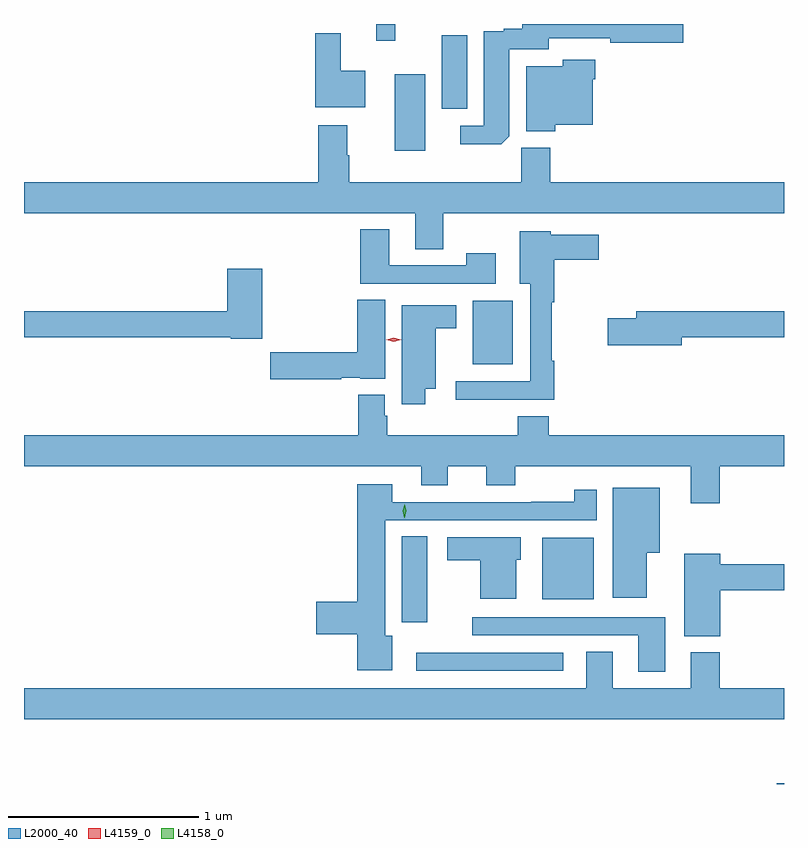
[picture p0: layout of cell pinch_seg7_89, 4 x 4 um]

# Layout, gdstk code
import gdstk
lib = gdstk.Library(unit=1e-6, precision=1e-09)
def R(c, l, rs):  # rectangles x0, y0, x1, y1
    for r in rs: c.add(gdstk.rectangle(r[:2], r[2:], *l))
def P(c, l, *ps):  # polygons
    for p in ps: c.add(gdstk.Polygon(p, *l))
L2000_40 = (2000, 40)
L4158_0 = (4158, 0)
L4159_0 = (4159, 0)

pinch_seg7_89 = lib.new_cell('pinch_seg7_89')
R(pinch_seg7_89, L2000_40, [(967.866,1008.268,967.905,1008.273), (965.97,1008.864,966.742,1008.96), (965.894,1009.119,966.028,1009.571), (966.632,1009.241,966.904,1009.564), (966.266,1010.477,966.478,1010.812), (965.855,1011.6,966.016,1012.003), (966.104,1011.822,966.238,1012.21), (965.759,1012.179,965.859,1012.268)])
P(pinch_seg7_89, L2000_40, [(966.46,1011.676),(966.46,1012.134),(966.667,1012.134),(966.667,1012.194),(966.99,1012.194),(966.99,1012.169),(967.375,1012.169),(967.375,1012.268),(966.527,1012.268),(966.527,1012.243),(966.431,1012.243),(966.431,1012.23),(966.326,1012.23),(966.326,1011.732),(966.201,1011.732),(966.201,1011.635),(966.418,1011.635)],
  [(965.701,1012.021),(965.572,1012.021),(965.572,1012.219),(965.438,1012.219),(965.438,1011.83),(965.701,1011.83)],
  [(966.701,1011.737),(966.898,1011.737),(966.898,1011.977),(966.911,1011.977),(966.911,1012.081),(966.74,1012.081),(966.74,1012.045),(966.548,1012.045),(966.548,1011.704),(966.701,1011.704)],
  [(966.111,1011.272),(967.905,1011.272),(967.905,1011.436),(966.674,1011.436),(966.674,1011.618),(966.523,1011.618),(966.523,1011.436),(965.618,1011.436),(965.618,1011.578),(965.605,1011.578),(965.605,1011.736),(965.453,1011.736),(965.453,1011.436),(963.905,1011.436),(963.905,1011.272),(965.963,1011.272),(965.963,1011.082),(966.111,1011.082)],
  [(966.388,1011.061),(966.232,1011.061),(966.232,1010.997),(965.827,1010.997),(965.827,1011.187),(965.675,1011.187),(965.675,1010.901),(966.388,1010.901)],
  [(966.695,1010.495),(966.682,1010.495),(966.682,1010.804),(966.695,1010.804),(966.695,1011.026),(966.931,1011.026),(966.931,1011.16),(966.678,1011.16),(966.678,1011.178),(966.515,1011.178),(966.515,1010.9),(966.569,1010.9),(966.569,1010.388),(966.177,1010.388),(966.177,1010.291),(966.695,1010.291)],
  [(965.159,1010.98),(964.976,1010.98),(964.976,1010.756),(963.905,1010.756),(963.905,1010.62),(964.992,1010.62),(964.992,1010.612),(965.159,1010.612)],
  [(965.576,1010.405),(965.676,1010.405),(965.676,1010.402),(965.806,1010.402),(965.806,1010.816),(965.66,1010.816),(965.66,1010.54),(965.202,1010.54),(965.202,1010.398),(965.576,1010.398)],
  [(966.016,1010.348),(966.073,1010.348),(966.073,1010.666),(966.181,1010.666),(966.181,1010.788),(965.894,1010.788),(965.894,1010.268),(966.016,1010.268)],
  [(967.366,1010.62),(967.905,1010.62),(967.905,1010.756),(967.127,1010.756),(967.127,1010.72),(966.978,1010.72),(966.978,1010.578),(967.366,1010.578)],
  [(967.568,1009.94),(967.905,1009.94),(967.905,1010.104),(966.668,1010.104),(966.668,1010.203),(966.503,1010.203),(966.503,1010.104),(965.816,1010.104),(965.816,1010.205),(965.803,1010.205),(965.803,1010.317),(965.663,1010.317),(965.663,1010.104),(963.905,1010.104),(963.905,1009.94),(965.996,1009.94),(965.996,1009.841),(966.136,1009.841),(966.136,1009.94),(966.338,1009.94),(966.338,1009.841),(966.491,1009.841),(966.491,1009.94),(967.415,1009.94),(967.415,1009.746),(967.568,1009.746)],
  [(965.842,1009.048),(965.806,1009.048),(965.806,1009.656),(966.919,1009.656),(966.919,1009.816),(966.802,1009.816),(966.802,1009.754),(966.574,1009.754),(966.574,1009.752),(965.842,1009.752),(965.842,1009.846),(965.66,1009.846),(965.66,1009.226),(965.442,1009.226),(965.442,1009.055),(965.66,1009.055),(965.66,1008.866),(965.842,1008.866)],
  [(967.183,1009.484),(967.252,1009.484),(967.252,1009.828),(967.004,1009.828),(967.004,1009.247),(967.183,1009.247)],
  [(966.496,1009.449),(966.52,1009.449),(966.52,1009.567),(966.132,1009.567),(966.132,1009.445),(966.305,1009.445),(966.305,1009.244),(966.496,1009.244)],
  [(967.57,1009.288),(967.905,1009.288),(967.905,1009.424),(967.57,1009.424),(967.57,1009.48),(967.379,1009.48),(967.379,1009.046),(967.57,1009.046)],
  [(967.279,1009.146),(966.264,1009.146),(966.264,1009.05),(967.139,1009.05),(967.139,1008.858),(967.279,1008.858)],
  [(967.905,1008.772),(967.568,1008.772),(967.568,1008.961),(967.415,1008.961),(967.415,1008.772),(967.003,1008.772),(967.003,1008.965),(966.863,1008.965),(966.863,1008.772),(963.905,1008.772),(963.905,1008.608),(967.905,1008.608)])
P(pinch_seg7_89, L4158_0, [(965.907,1009.669),(965.898,1009.705),(965.908,1009.741),(965.909,1009.741),(965.909,1009.741),(965.918,1009.705),(965.908,1009.669),(965.908,1009.669)])
P(pinch_seg7_89, L4159_0, [(965.85,1010.596),(965.811,1010.607),(965.811,1010.607),(965.811,1010.607),(965.85,1010.616),(965.89,1010.606),(965.89,1010.606),(965.89,1010.606)])

lib.write_gds('pinch_seg7_89.gds')
